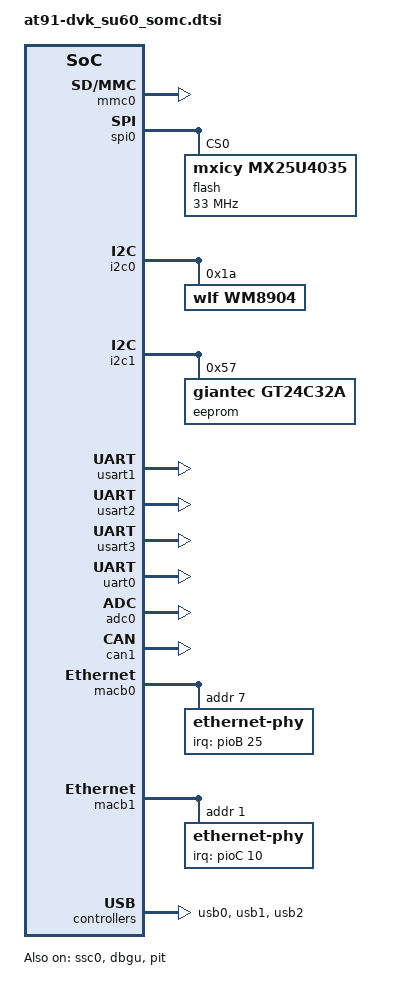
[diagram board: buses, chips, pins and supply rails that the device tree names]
// SPDX-License-Identifier: GPL-2.0
/*
 * at91-dvk_su60_somc.dtsi - Device Tree file for the DVK SOM60 base board
 *
 *  Copyright (C) 2018 Laird,
 *		  2018 Ben Whitten <ben.whitten@lairdtech.com>
 *
 */

/ {
	sound {
		compatible = "atmel,asoc-wm8904";
		pinctrl-names = "default";
		pinctrl-0 = <&pinctrl_pck2_as_audio_mck>;

		atmel,model = "wm8904 @ DVK-SOM60";
		atmel,audio-routing =
			"Headphone Jack", "HPOUTL",
			"Headphone Jack", "HPOUTR",
			"IN2L", "Line In Jack",
			"IN2R", "Line In Jack",
			"Mic", "MICBIAS",
			"IN1L", "Mic";

		atmel,ssc-controller = <&ssc0>;
		atmel,audio-codec = <&wm8904>;

		status = "okay";
	};
};

&mmc0 {
	status = "okay";

	pinctrl-0 = <&pinctrl_mmc0_clk_cmd_dat0 &pinctrl_mmc0_dat1_3 &pinctrl_mmc0_cd>;
	slot@0 {
		bus-width = <4>;
		cd-gpios = <&pioE 31 GPIO_ACTIVE_HIGH>;
		cd-inverted;
	};
};

&spi0 {
	status = "okay";

	/* spi0.0: 4M Flash Macronix MX25R4035FM1IL0 */
	flash@0 {
		compatible = "mxicy,mx25u4035", "jedec,spi-nor";
		spi-max-frequency = <33000000>;
		reg = <0>;
	};
};

&ssc0 {
	atmel,clk-from-rk-pin;
	status = "okay";
};

&i2c0 {
	status = "okay";

	wm8904: wm8904@1a {
		compatible = "wlf,wm8904";
		reg = <0x1a>;
		clocks = <&pmc PMC_TYPE_SYSTEM 10>;
		clock-names = "mclk";
	};
};

&i2c1 {
	status = "okay";

	eeprom@57 {
		compatible = "giantec,gt24c32a", "atmel,24c32";
		reg = <0x57>;
		pagesize = <32>;
	};
};

&usart1 {
	status = "okay";
};

&usart2 {
	status = "okay";
};

&usart3 {
	status = "okay";
};

&uart0 {
	status = "okay";
};

&dbgu {
	status = "okay";
};

&pit {
	status = "okay";
};

&adc0 {
	status = "okay";
};

&can1 {
	status = "okay";
};

&macb0 {
	#address-cells = <1>;
	#size-cells = <0>;
	status = "okay";

	ethernet-phy@7 {
		reg = <7>;
		pinctrl-names = "default";
		pinctrl-0 = <&pinctrl_geth_int>;
		interrupt-parent = <&pioB>;
		interrupts = <25 IRQ_TYPE_EDGE_FALLING>;
		txen-skew-ps = <800>;
		txc-skew-ps = <3000>;
		rxdv-skew-ps = <400>;
		rxc-skew-ps = <3000>;
		rxd0-skew-ps = <400>;
		rxd1-skew-ps = <400>;
		rxd2-skew-ps = <400>;
		rxd3-skew-ps = <400>;
	};
};

&macb1 {
	#address-cells = <1>;
	#size-cells = <0>;
	status = "okay";

	ethernet-phy@1 {
		reg = <1>;
		pinctrl-names = "default";
		pinctrl-0 = <&pinctrl_eth_int>;
		interrupt-parent = <&pioC>;
		interrupts = <10 IRQ_TYPE_EDGE_FALLING>;
	};
};

&usb0 {
	status = "okay";
};

&usb1 {
	status = "okay";
};

&usb2 {
	status = "okay";
};

